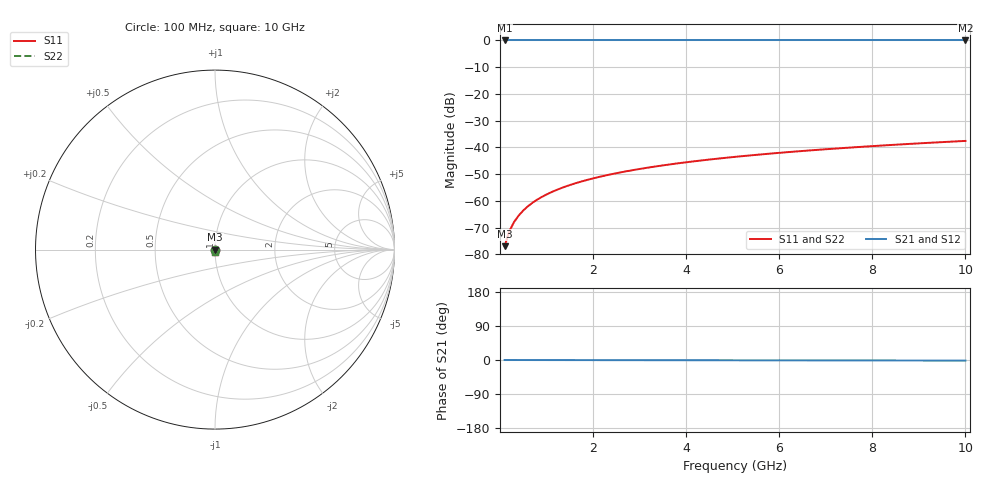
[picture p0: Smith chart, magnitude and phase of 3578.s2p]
# Hz S RI R 50.00
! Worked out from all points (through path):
!   100 points, 100 MHz to 10 GHz, reference 50 ohm
!   highest |S21| = 0.00 dB at 100 MHz (marker M1); lowest = 0.0 dB at 10 GHz (marker M2)
!   lowest |S11| = -77.0 dB at 100 MHz (marker M3), VSWR 1.00, Z = 50 - j0.0131 ohm
!   |S11| at or under -10 dB: start of sweep to end of sweep
!   |S22| runs from -77.0 to -37.6 dB; largest |S21 - S12| = 1e-12
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1e8  5.35e-05 -0.000131  0.9999 -0.000262  0.9999 -0.000262  5.35e-05 -0.000131
2e8  5.36e-05 -0.000262  0.9999 -0.000523  0.9999 -0.000523  5.36e-05 -0.000262
3e8  5.35e-05 -0.000393  0.9999 -0.000785  0.9999 -0.000785  5.35e-05 -0.000393
4e8  5.33e-05 -0.000525  0.9999 -0.00105  0.9999 -0.00105  5.33e-05 -0.000525
5e8  5.3e-05 -0.000656  0.9999 -0.00131  0.9999 -0.00131  5.3e-05 -0.000656
6e8  5.26e-05 -0.000787  0.9999 -0.00157  0.9999 -0.00157  5.26e-05 -0.000787
7e8  5.21e-05 -0.000918  0.9999 -0.00183  0.9999 -0.00183  5.21e-05 -0.000918
8e8  5.15e-05 -0.00105  0.9999 -0.00209  0.9999 -0.00209  5.15e-05 -0.00105
9e8  5.09e-05 -0.00118  0.9999 -0.00236  0.9999 -0.00236  5.09e-05 -0.00118
1.1e9  4.94e-05 -0.00144  0.9999 -0.00288  0.9999 -0.00288  4.94e-05 -0.00144
1.4e9  4.66e-05 -0.00184  0.9999 -0.00366  0.9999 -0.00366  4.66e-05 -0.00184
1.8e9  4.18e-05 -0.00236  0.9999 -0.00471  0.9999 -0.00471  4.18e-05 -0.00236
2.1e9  3.75e-05 -0.00276  0.9999 -0.0055  0.9999 -0.0055  3.75e-05 -0.00276
2.5e9  3.07e-05 -0.00328  0.9999 -0.00655  0.9999 -0.00655  3.07e-05 -0.00328
2.9e9  2.29e-05 -0.00381  0.9999 -0.00759  0.9999 -0.00759  2.29e-05 -0.00381
3.4e9  1.15e-05 -0.00446  0.9999 -0.00891  0.9999 -0.00891  1.15e-05 -0.00446
4.2e9  -1.04e-05 -0.00552  0.9999 -0.011  0.9999 -0.011  -1.04e-05 -0.00552
5.1e9  -4.04e-05 -0.0067  0.9998 -0.0134  0.9998 -0.0134  -4.04e-05 -0.0067
5.9e9  -7.18e-05 -0.00776  0.9998 -0.0155  0.9998 -0.0155  -7.18e-05 -0.00776
6.7e9  -0.000108 -0.00882  0.9997 -0.0176  0.9997 -0.0176  -0.000108 -0.00882
8.4e9  -0.000199 -0.0111  0.9996 -0.0221  0.9996 -0.0221  -0.000199 -0.0111
1e10  -0.000303 -0.0132  0.9995 -0.0263  0.9995 -0.0263  -0.000303 -0.0132
